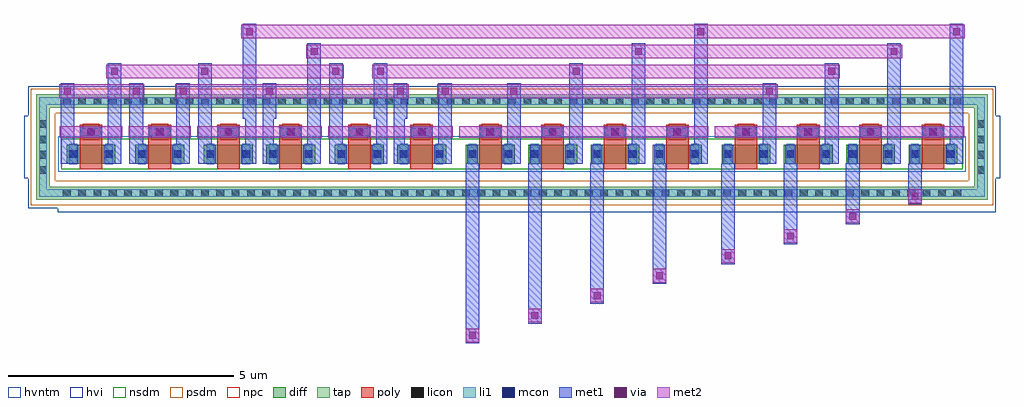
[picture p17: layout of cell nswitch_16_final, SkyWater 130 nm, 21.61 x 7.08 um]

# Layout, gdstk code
import gdstk
lib = gdstk.Library(unit=1e-6, precision=1e-09)
def R(c, l, rs):  # rectangles x0, y0, x1, y1
    for r in rs: c.add(gdstk.rectangle(r[:2], r[2:], *l))
def A(c, l, x, y, w, h, nx, ny, dx, dy):  # array of equal rectangles
    R(c, l, [(x+i*dx, y+j*dy, x+i*dx+w, y+j*dy+h) for i in range(nx) for j in range(ny)])
diff = (65, 20)
tap = (65, 44)
poly = (66, 20)
licon = (66, 44)
li1 = (67, 20)
mcon = (67, 44)
met1 = (68, 20)
via = (68, 44)
met2 = (69, 20)
hvi = (75, 20)
nsdm = (93, 44)
psdm = (94, 20)
npc = (95, 20)
hvntm = (125, 20)

sky130_fd_pr__nfet_g5v0d = lib.new_cell('sky130_fd_pr__nfet_g5v0d10v5_NQHLCX')
R(sky130_fd_pr__nfet_g5v0d, diff, [(-0.54,-0.365,0.54,0.055)])
R(sky130_fd_pr__nfet_g5v0d, poly, [(-0.25,-0.495,0.25,0.495)])
R(sky130_fd_pr__nfet_g5v0d, licon, [(-0.48,-0.24,-0.31,-0.07), (0.31,-0.24,0.48,-0.07), (-0.085,0.245,0.085,0.415)])
R(sky130_fd_pr__nfet_g5v0d, li1, [(-0.48,-0.385,-0.31,0.075), (0.31,-0.385,0.48,0.075), (-0.25,0.245,0.25,0.415)])
R(sky130_fd_pr__nfet_g5v0d, mcon, [(-0.48,-0.24,-0.31,-0.07), (0.31,-0.24,0.48,-0.07), (-0.085,0.245,0.085,0.415)])
R(sky130_fd_pr__nfet_g5v0d, met1, [(-0.51,-0.365,-0.28,0.055), (0.28,-0.365,0.51,0.055), (-0.23,0.215,0.23,0.445)])
R(sky130_fd_pr__nfet_g5v0d, hvi, [(-0.725,-0.575,0.725,0.265)])
R(sky130_fd_pr__nfet_g5v0d, nsdm, [(-0.665,-0.49,0.665,0.18)])
R(sky130_fd_pr__nfet_g5v0d, npc, [(-0.185,0.145,0.185,0.515)])
R(sky130_fd_pr__nfet_g5v0d, hvntm, [(-0.725,-0.55,0.725,0.24)])

hnmos_1 = lib.new_cell('hnmos_1')
R(hnmos_1, met1, [(0.325,0.71,0.645,0.97)])
R(hnmos_1, via, [(0.41,0.765,0.56,0.915)])
R(hnmos_1, met2, [(-0.205,0.71,1.175,0.97)])
hnmos_1.add(gdstk.Reference(sky130_fd_pr__nfet_g5v0d, (0.485,0.51)))

hnmos_2 = lib.new_cell('hnmos_2')
R(hnmos_2, nsdm, [(1.335,0.01,1.385,0.68)])
hnmos_2.add(gdstk.Reference(hnmos_1, (1.565,-0.01)))
hnmos_2.add(gdstk.Reference(hnmos_1, (0.185,-0.01)))

hnmos_4 = lib.new_cell('hnmos_4')
R(hnmos_4, nsdm, [(2.695,0.005,2.745,0.675)])
hnmos_4.add(gdstk.Reference(hnmos_2, (2.74,-0.005)))
hnmos_4.add(gdstk.Reference(hnmos_2, (-0.02,-0.005)))

nswitch_4_stage_3_h = lib.new_cell('nswitch_4_stage_3_H')
R(nswitch_4_stage_3_h, met1, [(0.315,-1.875,0.615,0.35), (1.695,-1.435,1.995,0.35), (3.075,-0.995,3.375,0.355), (4.455,-0.555,4.755,0.35), (1.23,0.35,1.53,2.13), (2.61,0.35,2.91,2.57), (3.99,0.35,4.29,3.01), (5.37,0.35,5.67,3.45)])
R(nswitch_4_stage_3_h, via, [(0.39,-1.77,0.54,-1.62), (1.77,-1.33,1.92,-1.18), (3.15,-0.89,3.3,-0.74), (4.53,-0.45,4.68,-0.3), (1.305,1.875,1.455,2.025), (2.685,2.315,2.835,2.465), (4.065,2.755,4.215,2.905), (5.445,3.195,5.595,3.345)])
R(nswitch_4_stage_3_h, met2, [(0.315,-1.845,0.615,-1.545), (1.695,-1.405,1.995,-1.105), (3.075,-0.965,3.375,-0.665), (4.455,-0.525,4.755,-0.225), (1.23,1.8,1.53,2.1), (2.61,2.24,2.91,2.54), (3.99,2.68,4.29,2.98), (5.37,3.12,5.67,3.42)])
nswitch_4_stage_3_h.add(gdstk.Reference(hnmos_4, (0.21,0.22)))

nswitch_4_stage_3 = lib.new_cell('nswitch_4_stage_3')
R(nswitch_4_stage_3, met1, [(0.315,-3.635,0.615,0.35), (1.695,-3.195,1.995,0.35), (3.075,-2.755,3.375,0.355), (4.455,-2.315,4.755,0.35), (1.23,0.35,1.53,2.13), (2.61,0.35,2.91,2.57), (3.99,0.35,4.29,3.01), (5.37,0.35,5.67,3.45)])
R(nswitch_4_stage_3, via, [(0.39,-3.53,0.54,-3.38), (1.77,-3.09,1.92,-2.94), (3.15,-2.65,3.3,-2.5), (4.53,-2.21,4.68,-2.06), (1.305,1.875,1.455,2.025), (2.685,2.315,2.835,2.465), (4.065,2.755,4.215,2.905), (5.445,3.195,5.595,3.345)])
R(nswitch_4_stage_3, met2, [(0.315,-3.605,0.615,-3.305), (1.695,-3.165,1.995,-2.865), (3.075,-2.725,3.375,-2.425), (4.455,-2.285,4.755,-1.985), (1.23,1.8,1.53,2.1), (2.61,2.24,2.91,2.54), (3.99,2.68,4.29,2.98), (5.37,3.12,5.67,3.42)])
nswitch_4_stage_3.add(gdstk.Reference(hnmos_4, (0.21,0.22)))

nswitch_16_final = lib.new_cell('nswitch_16_final')
R(nswitch_16_final, tap, [(175.18,-23.205,196.24,-22.915), (175.18,-22.915,175.47,-21.165), (195.95,-22.915,196.24,-21.165), (175.18,-21.165,196.24,-20.875)])
A(nswitch_16_final, licon, 175.765, -23.145, 0.17, 0.17, 59, 2, 0.34, 2.04)
A(nswitch_16_final, licon, 175.24, -22.635, 0.17, 0.17, 1, 4, 0, 0.34)
A(nswitch_16_final, licon, 196.01, -22.635, 0.17, 0.17, 1, 4, 0, 0.34)
R(nswitch_16_final, li1, [(175.24,-23.145,196.18,-22.975), (175.24,-22.975,175.41,-21.105), (196.01,-22.975,196.18,-21.105), (175.24,-21.105,196.18,-20.935)])
R(nswitch_16_final, met1, [(175.72,-22.405,176.02,-20.625), (176.76,-22.405,177.06,-20.185), (177.24,-22.405,177.54,-20.625), (178.28,-22.405,178.58,-20.625), (178.76,-22.405,179.06,-20.185), (179.75,-22.405,180.05,-21.965), (180.19,-22.405,180.49,-21.965), (181.18,-22.405,181.48,-19.745), (181.66,-22.405,181.96,-20.185), (182.65,-22.405,182.95,-21.965), (183.09,-22.405,183.39,-21.965), (184.08,-22.405,184.38,-20.625), (179.8,-21.965,180.05,-21.41), (180.19,-21.965,180.44,-21.41), (182.7,-21.965,182.95,-21.41), (183.09,-21.965,183.34,-21.41), (179.75,-21.41,180.05,-19.305), (180.19,-21.41,180.49,-20.625), (182.65,-21.41,182.95,-20.185), (183.09,-21.41,183.39,-20.625)])
R(nswitch_16_final, via, [(175.795,-20.88,175.945,-20.73), (177.315,-20.88,177.465,-20.73), (178.355,-20.88,178.505,-20.73), (180.265,-20.88,180.415,-20.73), (183.165,-20.88,183.315,-20.73), (184.155,-20.88,184.305,-20.73), (176.835,-20.44,176.985,-20.29), (178.835,-20.44,178.985,-20.29), (181.735,-20.44,181.885,-20.29), (182.725,-20.44,182.875,-20.29), (181.255,-20,181.405,-19.85), (179.825,-19.56,179.975,-19.41)])
R(nswitch_16_final, met2, [(175.69,-20.955,177.57,-20.655), (178.25,-20.955,183.42,-20.655), (184.05,-20.955,191.59,-20.655), (176.73,-20.515,181.99,-20.215), (182.62,-20.515,192.97,-20.215), (181.15,-20.075,194.35,-19.775), (179.72,-19.635,195.73,-19.335)])
A(nswitch_16_final, hvi, 178.635, -22.615, 0.07, 0.84, 3, 1, 2.9, 0)
R(nswitch_16_final, hvi, [(175.655,-23.48,196.425,-23.39), (174.995,-23.39,196.425,-22.73), (174.905,-22.73,196.515,-22.615), (174.905,-22.615,175.745,-21.775), (177.115,-22.615,177.185,-21.775), (190.095,-22.615,190.165,-21.775), (195.675,-22.615,196.515,-21.775), (174.905,-21.775,196.515,-21.35), (174.995,-21.35,196.425,-20.69)])
A(nswitch_16_final, nsdm, 178.575, -22.53, 0.19, 0.67, 3, 1, 2.9, 0)
R(nswitch_16_final, nsdm, [(177.055,-22.53,177.245,-21.86), (190.035,-22.53,190.225,-21.86)])
R(nswitch_16_final, psdm, [(175.055,-23.33,196.365,-22.79), (175.055,-22.79,175.595,-21.29), (195.825,-22.79,196.365,-21.29), (175.055,-21.29,196.365,-20.75)])
A(nswitch_16_final, hvntm, 178.635, -22.59, 0.07, 0.79, 3, 1, 2.9, 0)
R(nswitch_16_final, hvntm, [(177.115,-22.59,177.185,-21.8), (190.095,-22.59,190.165,-21.8)])
nswitch_16_final.add(gdstk.Reference(nswitch_4_stage_3_h, (190.03,-22.755)))
nswitch_16_final.add(gdstk.Reference(nswitch_4_stage_3, (184.37,-22.755)))
nswitch_16_final.add(gdstk.Reference(hnmos_2, (178.76,-22.54)))
nswitch_16_final.add(gdstk.Reference(hnmos_2, (181.66,-22.54)))
nswitch_16_final.add(gdstk.Reference(hnmos_1, (175.905,-22.55)))
nswitch_16_final.add(gdstk.Reference(hnmos_1, (177.425,-22.55)))

lib.write_gds('nswitch_16_final.gds')
